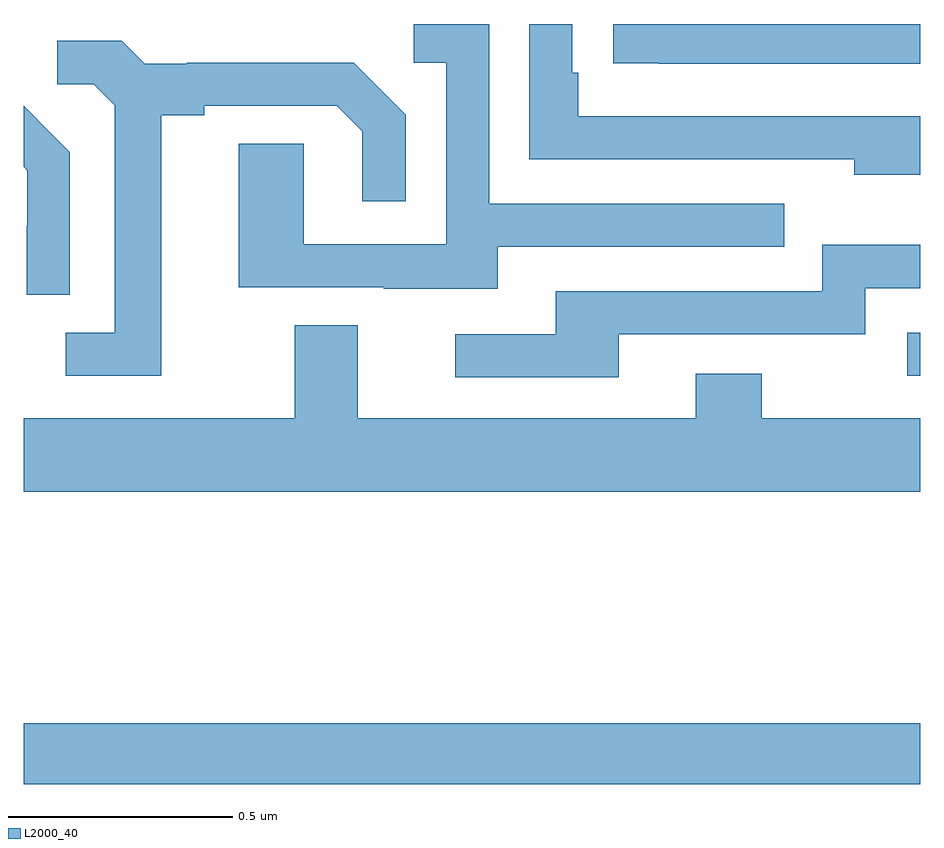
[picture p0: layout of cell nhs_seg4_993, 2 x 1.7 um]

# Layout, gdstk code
import gdstk
lib = gdstk.Library(unit=1e-6, precision=1e-09)
def R(c, l, rs):  # rectangles x0, y0, x1, y1
    for r in rs: c.add(gdstk.rectangle(r[:2], r[2:], *l))
def P(c, l, *ps):  # polygons
    for p in ps: c.add(gdstk.Polygon(p, *l))
L2000_40 = (2000, 40)

nhs_seg4_993 = lib.new_cell('nhs_seg4_993')
R(nhs_seg4_993, L2000_40, [(123,760.204,125,760.34), (124.971,761.115,125,761.211)])
P(nhs_seg4_993, L2000_40, [(125,761.694),(124.237,761.694),(124.237,761.791),(124.224,761.791),(124.224,761.9),(124.128,761.9),(124.128,761.598),(124.853,761.598),(124.853,761.564),(125,761.564)],
  [(125,761.9),(124.315,761.9),(124.315,761.812),(124.417,761.812),(124.417,761.811),(125,761.811)],
  [(124.057,761.403),(124.697,761.403),(124.697,761.499),(124.038,761.499),(124.038,761.9),(123.87,761.9),(123.87,761.814),(123.942,761.814),(123.942,761.409),(123.624,761.409),(123.624,761.633),(123.479,761.633),(123.479,761.313),(123.803,761.313),(123.803,761.309),(124.057,761.309)],
  [(123.307,761.696),(123.403,761.696),(123.403,761.718),(123.698,761.718),(123.755,761.661),(123.755,761.505),(123.852,761.505),(123.852,761.698),(123.736,761.814),(123.364,761.814),(123.364,761.811),(123.27,761.811),(123.218,761.863),(123.075,761.863),(123.075,761.766),(123.156,761.766),(123.203,761.719),(123.203,761.211),(123.093,761.211),(123.093,761.115),(123.307,761.115)],
  [(123.102,761.614),(123.029,761.687),(123.03,761.688),(123,761.718),(123,761.581),(123.008,761.573),(123.008,761.45),(123.006,761.45),(123.006,761.296),(123.102,761.296)],
  [(124.327,761.208),(124.878,761.208),(124.878,761.31),(125,761.31),(125,761.407),(124.782,761.407),(124.782,761.304),(124.187,761.304),(124.187,761.208),(123.963,761.208),(123.963,761.112),(124.327,761.112)],
  [(125,761.02),(124.647,761.02),(124.647,761.119),(124.499,761.119),(124.499,761.02),(123.745,761.02),(123.745,761.228),(123.605,761.228),(123.605,761.02),(123,761.02),(123,760.856),(125,760.856)])

lib.write_gds('nhs_seg4_993.gds')
